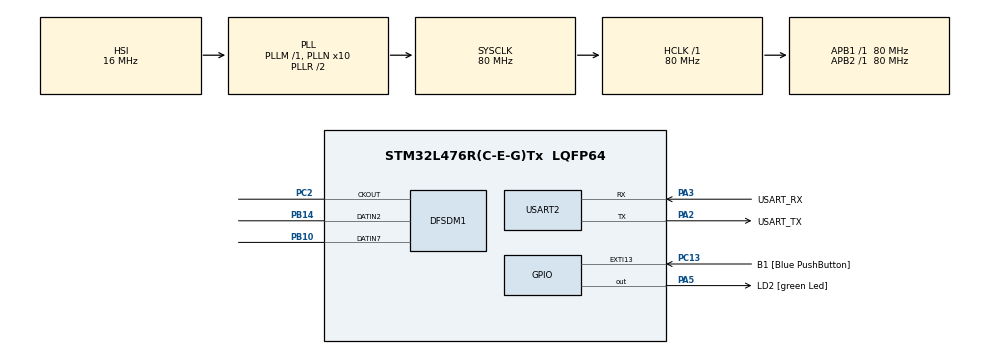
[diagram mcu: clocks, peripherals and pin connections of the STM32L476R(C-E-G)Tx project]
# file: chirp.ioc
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DFSDM1.Divider=52
DFSDM1.DmaMode_reg_FIL0=ENABLE
DFSDM1.DmaMode_reg_FIL1=ENABLE
DFSDM1.DmaMode_reg_FIL2=ENABLE
DFSDM1.FastMode_reg_FIL0=ENABLE
DFSDM1.FastMode_reg_FIL1=ENABLE
DFSDM1.FastMode_reg_FIL2=ENABLE
DFSDM1.Filter_regChannel_FIL0=DFSDM_CHANNEL_2
DFSDM1.Filter_regChannel_FIL1=DFSDM_CHANNEL_7
DFSDM1.Filter_regChannel_FIL2=DFSDM_CHANNEL_1
DFSDM1.Fosr_FIL0=32
DFSDM1.Fosr_FIL1=32
DFSDM1.Fosr_FIL2=32
DFSDM1.Oversampling_CH1=10
DFSDM1.Oversampling_CH2=10
DFSDM1.Oversampling_CH7=10
DFSDM1.RightBitShift_CH1=0x02
DFSDM1.RightBitShift_CH2=0x02
DFSDM1.RightBitShift_CH7=0x02
DFSDM1.SincOrder_FIL0=DFSDM_FILTER_SINC3_ORDER
DFSDM1.SincOrder_FIL1=DFSDM_FILTER_SINC3_ORDER
DFSDM1.SincOrder_FIL2=DFSDM_FILTER_SINC3_ORDER
DFSDM1.Type_spi_CH1=DFSDM_CHANNEL_SPI_FALLING
DFSDM1.Type_spi_CH7=DFSDM_CHANNEL_SPI_FALLING
Dma.DFSDM1_FLT0.0.Direction=DMA_PERIPH_TO_MEMORY
Dma.DFSDM1_FLT0.0.Instance=DMA1_Channel4
Dma.DFSDM1_FLT0.0.MemDataAlignment=DMA_MDATAALIGN_WORD
Dma.DFSDM1_FLT0.0.MemInc=DMA_MINC_ENABLE
Dma.DFSDM1_FLT0.0.Mode=DMA_CIRCULAR
Dma.DFSDM1_FLT0.0.PeriphDataAlignment=DMA_PDATAALIGN_WORD
Dma.DFSDM1_FLT0.0.PeriphInc=DMA_PINC_DISABLE
Dma.DFSDM1_FLT0.0.Priority=DMA_PRIORITY_MEDIUM
Dma.DFSDM1_FLT1.1.Direction=DMA_PERIPH_TO_MEMORY
Dma.DFSDM1_FLT1.1.Instance=DMA1_Channel5
Dma.DFSDM1_FLT1.1.MemDataAlignment=DMA_MDATAALIGN_WORD
Dma.DFSDM1_FLT1.1.MemInc=DMA_MINC_ENABLE
Dma.DFSDM1_FLT1.1.Mode=DMA_CIRCULAR
Dma.DFSDM1_FLT1.1.PeriphDataAlignment=DMA_PDATAALIGN_WORD
Dma.DFSDM1_FLT1.1.PeriphInc=DMA_PINC_DISABLE
Dma.DFSDM1_FLT1.1.Priority=DMA_PRIORITY_MEDIUM
Dma.DFSDM1_FLT2.2.Direction=DMA_PERIPH_TO_MEMORY
Dma.DFSDM1_FLT2.2.Instance=DMA1_Channel6
Dma.DFSDM1_FLT2.2.MemDataAlignment=DMA_MDATAALIGN_WORD
Dma.DFSDM1_FLT2.2.MemInc=DMA_MINC_ENABLE
Dma.DFSDM1_FLT2.2.Mode=DMA_CIRCULAR
Dma.DFSDM1_FLT2.2.PeriphDataAlignment=DMA_PDATAALIGN_WORD
Dma.DFSDM1_FLT2.2.PeriphInc=DMA_PINC_DISABLE
Dma.DFSDM1_FLT2.2.Priority=DMA_PRIORITY_MEDIUM
Dma.Request0=DFSDM1_FLT0
Dma.Request1=DFSDM1_FLT1
Dma.Request2=DFSDM1_FLT2
Mcu.Family=STM32L4
Mcu.Name=STM32L476R(C-E-G)Tx
Mcu.Package=LQFP64
NVIC.DMA1_Channel4_IRQn=true\:0\:0\:false\:false\:true\:false
NVIC.DMA1_Channel5_IRQn=true\:0\:0\:false\:false\:true\:false
NVIC.DMA1_Channel6_IRQn=true\:0\:0\:false\:false\:true\:false
NVIC.EXTI15_10_IRQn=true\:0\:0\:false\:false\:true\:true
NVIC.PriorityGroup=NVIC_PRIORITYGROUP_4
PA13\ (JTMS-SWDIO).GPIO_Label=TMS
PA13\ (JTMS-SWDIO).Mode=Serial_Wire
PA13\ (JTMS-SWDIO).Signal=SYS_JTMS-SWDIO
PA14\ (JTCK-SWCLK).GPIO_Label=TCK
PA14\ (JTCK-SWCLK).Mode=Serial_Wire
PA14\ (JTCK-SWCLK).Signal=SYS_JTCK-SWCLK
PA2.GPIO_Label=USART_TX
PA2.GPIO_Mode=GPIO_MODE_AF_PP
PA2.GPIO_PuPd=GPIO_NOPULL
PA2.GPIO_Speed=GPIO_SPEED_FREQ_VERY_HIGH
PA2.Mode=Asynchronous
PA2.Signal=USART2_TX
PA3.GPIO_Label=USART_RX
PA3.GPIO_Mode=GPIO_MODE_AF_PP
PA3.GPIO_PuPd=GPIO_NOPULL
PA3.GPIO_Speed=GPIO_SPEED_FREQ_VERY_HIGH
PA3.Mode=Asynchronous
PA3.Signal=USART2_RX
PA5.GPIO_Label=LD2 [green Led]
PA5.GPIO_ModeDefaultOutputPP=GPIO_MODE_OUTPUT_PP
PA5.GPIO_PuPd=GPIO_NOPULL
PA5.GPIO_Speed=GPIO_SPEED_FREQ_LOW
PA5.Signal=GPIO_Output
PB10.Signal=S_DATAIN7DFSDM1
PB14.Signal=S_DATAIN2DFSDM1
PB3\ (JTDO-TRACESWO).GPIO_Label=SWO
PB3\ (JTDO-TRACESWO).Signal=SYS_JTDO-SWO
PC13.GPIO_Label=B1 [Blue PushButton]
PC13.GPIO_ModeDefaultEXTI=GPIO_MODE_IT_FALLING
PC13.GPIO_PuPd=GPIO_NOPULL
PC13.Signal=GPXTI13
PC14-OSC32_IN\ (PC14).Signal=RCC_OSC32_IN
PC15-OSC32_OUT\ (PC15).Signal=RCC_OSC32_OUT
PC2.Signal=S_CKOUTDFSDM1
PH0-OSC_IN\ (PH0).Signal=RCC_OSC_IN
PH1-OSC_OUT\ (PH1).Signal=RCC_OSC_OUT
ProjectManager.HeapSize=0x200
ProjectManager.StackSize=0x400
ProjectManager.TargetToolchain=TrueSTUDIO
RCC.ADCFreq_Value=64000000
RCC.AHBFreq_Value=80000000
RCC.APB1Freq_Value=80000000
RCC.APB1TimFreq_Value=80000000
RCC.APB2Freq_Value=80000000
RCC.APB2TimFreq_Value=80000000
RCC.CortexFreq_Value=80000000
RCC.HCLKFreq_Value=80000000
RCC.HSE_VALUE=8000000
RCC.HSI_VALUE=16000000
RCC.LSE_VALUE=32768
RCC.MSI_VALUE=4000000
RCC.PLLN=10
RCC.PLLSourceVirtual=RCC_PLLSOURCE_HSI
RCC.PREFETCH_ENABLE=1
RCC.SYSCLKFreq_VALUE=80000000
RCC.SYSCLKSource=RCC_SYSCLKSOURCE_PLLCLK
RCC.USBFreq_Value=64000000
RCC.VCOOutputFreq_Value=160000000
SH.S_CKOUTDFSDM1.0=DFSDM1_CKOUT,PDM_SPI_input_from_ch2_and_internal_clock
SH.S_CKOUTDFSDM1.1=DFSDM1_CKOUT,CKOUT
SH.S_CKOUTDFSDM1.2=DFSDM1_CKOUT,PDM_SPI_input_from_ch7_and_internal_clock
SH.S_CKOUTDFSDM1.3=DFSDM1_CKOUT,PDM_SPI_Input_from_ch12_and_Internal_Clock
SH.S_DATAIN2DFSDM1.0=DFSDM1_DATIN2,PDM_SPI_input_from_ch2_and_internal_clock
SH.S_DATAIN2DFSDM1.1=DFSDM1_DATIN2,PDM_SPI_Input_from_ch12_and_Internal_Clock
SH.S_DATAIN7DFSDM1.0=DFSDM1_DATIN7,PDM_SPI_input_from_ch7_and_internal_clock
USART2.VirtualMode-Asynchronous=VM_ASYNC
USART2.WordLength=WORDLENGTH_8B
board=NUCLEO-L476RG

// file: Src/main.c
/**
  ******************************************************************************
  * @file           : main.c
  * @brief          : Main program body
  ******************************************************************************
  ** This notice applies to any and all portions of this file
  * that are not between comment pairs USER CODE BEGIN and
  * USER CODE END. Other portions of this file, whether
  * inserted by the user or by software development tools
  * are owned by their respective copyright owners.
  *
  * COPYRIGHT(c) 2018 STMicroelectronics
  *
  * Redistribution and use in source and binary forms, with or without modification,
  * are permitted provided that the following conditions are met:
  *   1. Redistributions of source code must retain the above copyright notice,
  *      this list of conditions and the following disclaimer.
  *   2. Redistributions in binary form must reproduce the above copyright notice,
  *      this list of conditions and the following disclaimer in the documentation
  *      and/or other materials provided with the distribution.
  *   3. Neither the name of STMicroelectronics nor the names of its contributors
  *      may be used to endorse or promote products derived from this software
  *      without specific prior written permission.
  *
  * THIS SOFTWARE IS PROVIDED BY THE COPYRIGHT HOLDERS AND CONTRIBUTORS "AS IS"
  * AND ANY EXPRESS OR IMPLIED WARRANTIES, INCLUDING, BUT NOT LIMITED TO, THE
  * IMPLIED WARRANTIES OF MERCHANTABILITY AND FITNESS FOR A PARTICULAR PURPOSE ARE
  * DISCLAIMED. IN NO EVENT SHALL THE COPYRIGHT HOLDER OR CONTRIBUTORS BE LIABLE
  * FOR ANY DIRECT, INDIRECT, INCIDENTAL, SPECIAL, EXEMPLARY, OR CONSEQUENTIAL
  * DAMAGES (INCLUDING, BUT NOT LIMITED TO, PROCUREMENT OF SUBSTITUTE GOODS OR
  * SERVICES; LOSS OF USE, DATA, OR PROFITS; OR BUSINESS INTERRUPTION) HOWEVER
  * CAUSED AND ON ANY THEORY OF LIABILITY, WHETHER IN CONTRACT, STRICT LIABILITY,
  * OR TORT (INCLUDING NEGLIGENCE OR OTHERWISE) ARISING IN ANY WAY OUT OF THE USE
  * OF THIS SOFTWARE, EVEN IF ADVISED OF THE POSSIBILITY OF SUCH DAMAGE.
  *
  ******************************************************************************
  */
#include "main.h"
#include "stm32l4xx_hal.h"
#include "dfsdm.h"
#include "dma.h"
#include "usart.h"
#include "gpio.h"

/* USER CODE BEGIN Includes */
#include "math.h"
#include "stdbool.h"
#include "arm_math.h"
/* USER CODE END Includes */

/* USER CODE BEGIN PV */
/* Private variables ---------------------------------------------------------*/

// Flags to indicate ISR to copy data from buffer to PCM data store for FFT
char M1[] = "M1";    // MEMS mic 1

#ifdef M2_MULTIPREX
  char M2[] = "M2A";  // MEMS mic 2 on the same PDM line as M1 uses.
#else
  char M2[] = "M2B";  // MEMS mic 2 on the other PDM line
#endif

char *mic_select;
bool flag_m1 = true;
bool flag_m2 = true;

// Audio sample rate and period
float sampling_rate;
float sampling_period;

// DMA peripheral to memory buffer
int32_t buf[PCM_SAMPLES] = { 0 };
int32_t buf_m2[PCM_SAMPLES] = { 0 };

// PCM data store for further processing (FFT)
int32_t pcm[PCM_SAMPLES] = { 0 };
int32_t pcm_m2[PCM_SAMPLES] = { 0 };

// FFT
arm_rfft_fast_instance_f32 S;
float32_t fft_input[PCM_SAMPLES] = { 0.0f };
float32_t fft_hanning[PCM_SAMPLES] = { 0.0f };
float32_t fft_output[PCM_SAMPLES] = { 0.0f };
float fft_magnitude[PCM_SAMPLES / 2] = { 0.0f };
float fft_db[PCM_SAMPLES / 2] = { 0.0f };
float fft_frequency[PCM_SAMPLES / 2] = { 0.0f };
float fft_window[PCM_SAMPLES] = { 0.0f };
const float WINDOW_SCALE = 2.0f * M_PI / (float) PCM_SAMPLES;

// Chirp sweep range
uint32_t chirp_f1 = 0ul;
uint32_t chirp_f2 = 0ul;

// Chirp strength
uint16_t chirp_strength = 0u;

// Chirp signal
uint16_t chirp_signal_threshold_high = 0u;
uint16_t chirp_signal_threshold_low = 0u;

// UART output flag
bool output_result = false;
/* USER CODE END PV */

void SystemClock_Config(void);

/* USER CODE BEGIN PFP */
/* Private function prototypes -----------------------------------------------*/

/* USER CODE END PFP */

/* USER CODE BEGIN 0 */

void decode(int16_t level, uint16_t chirp_strength) {
  static uint16_t count = 0;
  static uint8_t bits = 0;
  char b;
  static uint16_t n = 0;
  const uint16_t offset = FRAME_START + FRAME_SAMPLING_OFFSET;
  const uint16_t max_length = offset + FRAME_BIT * 8;
  static uint16_t high_count = 0;
  bool sampling_point;
  int rate;
  char level_char = 'U';

  static char print_buf[30][256];
  static int idx = 0;

  sampling_point = (count == offset + FRAME_BIT * n) ? true : false;

  switch(level) {
  case CHIRP_HIGH:
    HAL_GPIO_WritePin(LD2_GPIO_Port, LD2_Pin, GPIO_PIN_SET);
    level_char = 'H';
    if (count < offset) {  // Synchronization phase
      high_count++;
    } else if (sampling_point) {  // Data receiving phase
      bits = bits | (0b10000000 >> n);
      n++;
    }
    count++;
    break;
  case CHIRP_UNKNOWN:
    level_char = 'U';
    if (sampling_point) {
      sprintf(&print_buf[idx++][0], "Unknown!");
      n++;
    }
    count++;
    break;
  case CHIRP_LOW:
    level_char = 'L';
    HAL_GPIO_WritePin(LD2_GPIO_Port, LD2_Pin, GPIO_PIN_RESET);
    if (count > 0) {
        count++;
      if (sampling_point) {  // Data receiving phase
        n++;
      }
    }
    break;
  }
  // Debug info
  if (count > 0) {
    // printf("%d\n", level);
    if (sampling_point) {
      b = (level > 0) ? '1': '0';
    } else {
      b = ' ';
    }
    rate = (int)((float)chirp_strength/(float)(chirp_f2 - chirp_f1 + 1) * 100.0);
    sprintf(&print_buf[idx++][0], "[l]: %c, [s]: %3d%%, c: %02d, h: %1d, n: %02d, [s]: %1d, [b]: %1c, bits: 0x%02x, t: %lu", level_char, rate, count - 1, high_count, n, sampling_point, b, bits, HAL_GetTick());
  }
  // Synchronization error
  if ((count >= FRAME_START) && (high_count < FRAME_SYNC_THRESHOLD)) {
    count = 0;
    high_count = 0;
    idx = 0;
    sprintf(&print_buf[idx++][0], "Sync error!");
  }
  // Frame receiving completed
  if (count >= max_length) {
    count = 0;
    n = 0;
    high_count = 0;
    for (int i = 0; i < idx; i++) {
      printf("%s\n", &print_buf[i][0]);
      print_buf[i][0] = '\0';
    }
    idx = 0;
    printf("==> bits: 0x%02x, char: %c\n", bits, bits);
    bits = 0x00;
  }
}

void fft(void) {
  // Windowing
  arm_mult_f32(fft_input, fft_window, fft_input, PCM_SAMPLES);
  for(uint32_t i = 0; i < PCM_SAMPLES; i++) {
    fft_hanning[i] = fft_input[i];
  }

  // Execute FFT
  // Note: this function modifies fft_input as well.
  arm_rfft_fast_f32(&S, fft_input, fft_output, 0);

  // Calculate magnitude
  arm_cmplx_mag_f32(fft_output, fft_magnitude, PCM_SAMPLES / 2);

  // Normalization (Unitary transformation) of magnitude
  arm_scale_f32(fft_magnitude, 1.0f / sqrtf((float) PCM_SAMPLES), fft_magnitude,
      PCM_SAMPLES / 2);
  /*
  // AC coupling
  for (uint32_t i = 0; i < FFT_SAMPLES / 2; i++) {
    if (*(fft_frequency + i) < FFT_AC_COUPLING_HZ)
      fft_magnitude[i] = 1.0f;
    else
      break;
  }

  float inv_dB_base_mag = 1.0f / 1.0f;
  for (uint32_t i = 0; i < FFT_SAMPLES / 2; i++)
    fft_db[i] = 10.0f * log10f(fft_magnitude[i] * inv_dB_base_mag);

  // Calculate max magnitude
  float mag_max, frq_max;
  uint32_t maxIndex;
  arm_max_f32(fft_magnitude, FFT_SAMPLES / 2, &mag_max, &maxIndex);
  frq_max = *(fft_frequency + maxIndex);
  */

  chirp_strength = 0;
  for (uint32_t i = chirp_f1; i <= chirp_f2 ; i++) {
    if (fft_magnitude[i] > CHIRP_MAGNITUDE_THRESHOLD) {
      chirp_strength += 1;
    }
  }

  // Output result to UART when user button is pressed
  //if (output_result) {
    // printf("\nMEMS mic: %s\n", mic_select);

    // Raw PCM data
    /*
    printf("Raw PCM data\n");
    printf("Index,Amplitude\n");
    if (mic_select == M1) {
      for (uint32_t i = 0; i < FFT_SAMPLES; i++) {
        printf("%lu,%ld\n", i, pcm_m1[i]);
      }
    } else {
      for (uint32_t i = 0; i < FFT_SAMPLES; i++) {
        printf("%lu,%ld\n", i, pcm_m2[i]);
      }
    }
    printf("\n");
    */

    // Chirp compression
    /*
    printf("Index,Amplitude\n");
    for (uint32_t i = 0; i < FFT_SAMPLES / 2; i++) {
      printf("%ld\n", (int32_t)fft_output[i]);
    }
    printf("\n");
    */
    //printf("\n///// C H I R P   S I G N A L /////\n");
    //printf("Chirp f1: %lu Hz at index %lu\n", (uint32_t)fft_frequency[chirp_f1], chirp_f1);
    //printf("Chirp f2: %lu Hz at index %lu\n", (uint32_t)fft_frequency[chirp_f2], chirp_f2);
    //printf("Chirp strength: %d\n", chirp_strength);
    if (chirp_strength >= chirp_signal_threshold_high) {
      //printf("-> Signal HIGH\n");
      decode(CHIRP_HIGH, chirp_strength);
    } else if (chirp_strength <= chirp_signal_threshold_low) {
      //printf("-> Signal LOW\n");
      decode(CHIRP_LOW, chirp_strength);
    } else {
      //printf("-> Signal UNKNOWN\n");
      decode(CHIRP_UNKNOWN, chirp_strength);
    }

    //printf("\n");

    //HAL_GPIO_WritePin(LD2_GPIO_Port, LD2_Pin, GPIO_PIN_RESET);
    output_result = false;

    //HAL_Delay(1000);
  //}
}
/* USER CODE END 0 */

int main(void)
{
  /* USER CODE BEGIN 1 */
  float freq1;
  float freq2;

  /* USER CODE END 1 */

  /* MCU Configuration----------------------------------------------------------*/

  /* Reset of all peripherals, Initializes the Flash interface and the Systick. */
  HAL_Init();

  /* Configure the system clock */
  SystemClock_Config();

  /* Initialize all configured peripherals */
  MX_GPIO_Init();
  MX_DMA_Init();
  MX_USART2_UART_Init();
  MX_DFSDM1_Init();
  /* USER CODE BEGIN 2 */

  // DMA from DFSDM to buf_m1
  if (HAL_DFSDM_FilterRegularStart_DMA(&hdfsdm1_filter0, buf, PCM_SAMPLES)
      != HAL_OK) {
    Error_Handler();
  }
#ifdef M2_MULTIPREX
  // DMA from DFSDM to buf_m2
  if (HAL_DFSDM_FilterRegularStart_DMA(&hdfsdm1_filter2, buf_m2, PCM_SAMPLES)
      != HAL_OK) {
    Error_Handler();
  }
#else
  // DMA from DFSDM to buf_m2
  if (HAL_DFSDM_FilterRegularStart_DMA(&hdfsdm1_filter1, buf_m2, PCM_SAMPLES)
      != HAL_OK) {
    Error_Handler();
  }
#endif

  // FFT sample rate
  sampling_rate = SystemCoreClock / hdfsdm1_channel2.Init.OutputClock.Divider
      / hdfsdm1_filter0.Init.FilterParam.Oversampling
      / hdfsdm1_filter0.Init.FilterParam.IntOversampling;

  printf("/// Ultrasonic signal receiver ///\n\n");
  /*
  printf("/// Audio Spectrum Analyzer ///\n\n");
  printf("Sampling rate: %4.1f(kHz)\n", (float) sample_rate / 1000.0f);
  sample_period = 1.0f / sample_rate * FFT_SAMPLES;
  printf("Sampling period: %.1f(msec), Samples per period: %ld\n\n",
      sample_period * 1000.0f, FFT_SAMPLES);
  printf("Push USER button to output single-shot FFT\n");
  */

  // Hanning window
  for (uint32_t i = 0; i < PCM_SAMPLES; i++) {
    fft_window[i] = 0.5f - 0.5f * arm_cos_f32((float)i * WINDOW_SCALE);
  }

  freq1 = CHIRP_F1;
  freq2 = CHIRP_F1 + 2.0 * (CHIRP_F2 - CHIRP_F1);
  // Chirp sweep range f1 and f2
  for (uint32_t i = 0; i < PCM_SAMPLES / 2; i++) {
    fft_frequency[i] = (float)i * (float)sampling_rate / (float)PCM_SAMPLES;
    if ((chirp_f1 == 0) && (fft_frequency[i] >= freq1)) {
      chirp_f1 = i;
    }
    if ((chirp_f2 == 0) && (fft_frequency[i] >= freq2)) {
      chirp_f2 = i;
    }
  }
  // The number of received HIGHs
  chirp_signal_threshold_high = (chirp_f2 - chirp_f1 + 1) * CHIRP_SIGNAL_THRESHOLD_HIGH;
  // The number of received LOWs
  chirp_signal_threshold_low = (chirp_f2 - chirp_f1 + 1) * CHIRP_SIGNAL_THRESHOLD_LOW;

  // FFT initialization
  arm_rfft_fast_init_f32(&S, PCM_SAMPLES);
  /* USER CODE END 2 */

  /* Infinite loop */
  /* USER CODE BEGIN WHILE */
  while (1) {

    // Wait for next PCM samples from M1
    if (!flag_m1) {
      for (uint32_t i = 0; i < PCM_SAMPLES; i++) {
        fft_input[i] = (float) pcm[i];
      }
      mic_select = M1;
      fft();
      flag_m1 = true;
    }
    // Wait for next PCM samples from M2
    if (!flag_m2) {
      for (uint32_t i = 0; i < PCM_SAMPLES; i++) {
        fft_input[i] = (float) pcm_m2[i];
      }
      /*
      mic_select = M2;
      fft();
      flag_m2 = true;
      */
    }
  /* USER CODE END WHILE */

  }

}

void SystemClock_Config(void)
{

  RCC_OscInitTypeDef RCC_OscInitStruct;
  RCC_ClkInitTypeDef RCC_ClkInitStruct;
  RCC_PeriphCLKInitTypeDef PeriphClkInit;

    /**Initializes the CPU, AHB and APB busses clocks
    */
  RCC_OscInitStruct.OscillatorType = RCC_OSCILLATORTYPE_HSI;
  RCC_OscInitStruct.HSIState = RCC_HSI_ON;
  RCC_OscInitStruct.HSICalibrationValue = 16;
  RCC_OscInitStruct.PLL.PLLState = RCC_PLL_ON;
  RCC_OscInitStruct.PLL.PLLSource = RCC_PLLSOURCE_HSI;
  RCC_OscInitStruct.PLL.PLLM = 1;
  RCC_OscInitStruct.PLL.PLLN = 10;
  RCC_OscInitStruct.PLL.PLLP = RCC_PLLP_DIV7;
  RCC_OscInitStruct.PLL.PLLQ = RCC_PLLQ_DIV2;
  RCC_OscInitStruct.PLL.PLLR = RCC_PLLR_DIV2;
  if (HAL_RCC_OscConfig(&RCC_OscInitStruct) != HAL_OK)
  {
    _Error_Handler(__FILE__, __LINE__);
  }

    /**Initializes the CPU, AHB and APB busses clocks
    */
  RCC_ClkInitStruct.ClockType = RCC_CLOCKTYPE_HCLK|RCC_CLOCKTYPE_SYSCLK
                              |RCC_CLOCKTYPE_PCLK1|RCC_CLOCKTYPE_PCLK2;
  RCC_ClkInitStruct.SYSCLKSource = RCC_SYSCLKSOURCE_PLLCLK;
  RCC_ClkInitStruct.AHBCLKDivider = RCC_SYSCLK_DIV1;
  RCC_ClkInitStruct.APB1CLKDivider = RCC_HCLK_DIV1;
  RCC_ClkInitStruct.APB2CLKDivider = RCC_HCLK_DIV1;

  if (HAL_RCC_ClockConfig(&RCC_ClkInitStruct, FLASH_LATENCY_4) != HAL_OK)
  {
    _Error_Handler(__FILE__, __LINE__);
  }

  PeriphClkInit.PeriphClockSelection = RCC_PERIPHCLK_USART2|RCC_PERIPHCLK_DFSDM1;
  PeriphClkInit.Usart2ClockSelection = RCC_USART2CLKSOURCE_PCLK1;
  PeriphClkInit.Dfsdm1ClockSelection = RCC_DFSDM1CLKSOURCE_PCLK;
  if (HAL_RCCEx_PeriphCLKConfig(&PeriphClkInit) != HAL_OK)
  {
    _Error_Handler(__FILE__, __LINE__);
  }

    /**Configure the main internal regulator output voltage
    */
  if (HAL_PWREx_ControlVoltageScaling(PWR_REGULATOR_VOLTAGE_SCALE1) != HAL_OK)
  {
    _Error_Handler(__FILE__, __LINE__);
  }

    /**Configure the Systick interrupt time
    */
  HAL_SYSTICK_Config(HAL_RCC_GetHCLKFreq()/1000);

    /**Configure the Systick
    */
  HAL_SYSTICK_CLKSourceConfig(SYSTICK_CLKSOURCE_HCLK);

  /* SysTick_IRQn interrupt configuration */
  HAL_NVIC_SetPriority(SysTick_IRQn, 0, 0);
}

/* USER CODE BEGIN 4 */

/**
 * @brief  Half regular conversion complete callback.
 * @param  hdfsdm_filter : DFSDM filter handle.
 * @retval None
 */
void HAL_DFSDM_FilterRegConvHalfCpltCallback(
    DFSDM_Filter_HandleTypeDef *hdfsdm_filter) {
/*
  uint32_t end = FFT_SAMPLES/2;
  if (flag_m1 && (hdfsdm_filter == &hdfsdm1_filter0)) {
    for (uint32_t i = 0; i < end; i++) {
      pcm_m1[i] = buf_m1[i];
    }
    flag_m1 = false;
#ifdef M2_MULTIPREX
  } else if (flag_m2 && (hdfsdm_filter == &hdfsdm1_filter2)) {
    for (uint32_t i = 0; i < end; i++) {
      pcm_m2[i] = buf_m2[i];
    }
    flag_m2 = false;
  }
#else
  } else if  (flag_m2 && (hdfsdm_filter == &hdfsdm1_filter1)) {
    for (uint32_t i = 0; i < end; i++) {
      pcm_m2[i] = buf_m2[i];
    }
    flag_m2 = false;
  }
#endif
*/
}

/**
 * @brief  Regular conversion complete callback.
 * @note   In interrupt mode, user has to read conversion value in this function
 using HAL_DFSDM_FilterGetRegularValue.
 * @param  hdfsdm_filter : DFSDM filter handle.
 * @retval None
 */
void HAL_DFSDM_FilterRegConvCpltCallback(
    DFSDM_Filter_HandleTypeDef *hdfsdm_filter) {
  // uint32_t start = FFT_SAMPLES / 2;
  uint32_t start = 0;
  if (flag_m1 && (hdfsdm_filter == &hdfsdm1_filter0)) {
    for (uint32_t i = start; i < PCM_SAMPLES; i++) {
      pcm[i] = buf[i];
    }
    flag_m1 = false;
#ifdef M2_MULTIPREX
  } else if (flag_m2 && (hdfsdm_filter == &hdfsdm1_filter2)) {
    for (uint32_t i = start; i < PCM_SAMPLES; i++) {
      pcm_m2[i] = buf_m2[i];
    }
    flag_m2 = false;
  }
#else
  } else if  (flag_m2 && (hdfsdm_filter == &hdfsdm1_filter1)) {
    for (uint32_t i = start; i < PCM_SAMPLES; i++) {
      pcm_m2[i] = buf_m2[i];
    }
    flag_m2 = false;
  }
#endif
}

/**
 * @brief  Retargets the C library printf function to the USART.
 * @param  None
 * @retval None
 */
int _write(int file, char *ptr, int len) {
  HAL_UART_Transmit(&huart2, (uint8_t *) ptr, (uint16_t) len, 0xFFFFFFFF);
  return len;
}

/**
 * @brief  GPIO External Interrupt callback
 * @param  GPIO_Pin
 * @retval None
 */
void HAL_GPIO_EXTI_Callback(uint16_t GPIO_Pin) {
  if (GPIO_Pin == GPIO_PIN_13) {  // User button (blue tactile switch)
    HAL_GPIO_WritePin(LD2_GPIO_Port, LD2_Pin, GPIO_PIN_RESET);
    // output_result = true;
  }
}
/* USER CODE END 4 */

void _Error_Handler(char *file, int line)
{
  while (1) {
  }
}

/************************ (C) COPYRIGHT STMicroelectronics *****END OF FILE****/
